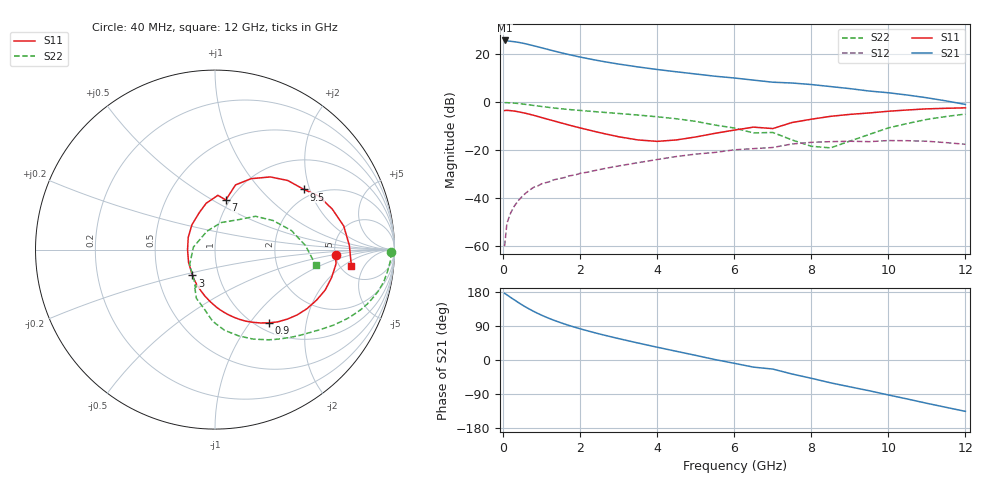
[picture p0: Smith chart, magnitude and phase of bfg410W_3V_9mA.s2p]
! Filename: 39bfg410.001
! BFG410W Field B1
! V1=8.665E-001V,V2=3.000E+000V, I1=1.322E-004A, I2=8.990E-003A
# GHz  S  MA  R 50
!  S11  S21  S12  S22
!Freq(GHz)  Mag  Ang  Mag  Ang  Mag  Ang  Mag  Ang
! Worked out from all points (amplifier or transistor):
!   44 points, 40 MHz to 12 GHz, reference 50 ohm
!   highest |S21| = 25.8 dB at 40 MHz (marker M1)
!   |S21| within 3 dB of that: start of sweep to 985.8 MHz
!   unconditionally stable (mu >= 1): 2.055 GHz to end of sweep
!   at 700 MHz: K = 0.48, MSG = 30.2 dB, |S12| = -36.5 dB
!   at 2.4 GHz: K = 1.08, MAG = 21.2 dB, |S12| = -28.4 dB
!   at 12 GHz: K = 1.52, MAG = 4.1 dB, |S12| = -17.5 dB
!   S11 on the Smith chart (normalised r, x): 40 MHz: 5.04, -0.53; 900 MHz: 1.13, -1.24; 3 GHz: 0.75, -0.22; 7 GHz: 0.96, +0.58; 9.5 GHz: 1.75, +1.83; 12 GHz: 6.29, -2.74
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0.04  0.672 -2.4  19.43 175.7  0.001 61.9  0.98 -0.9
0.1  0.679 -6.7  19.05 172.0  0.003 86.9  0.981 -3.2
0.3  0.654 -20.2  18.25 158.2  0.007 78.9  0.958 -10.5
0.4  0.632 -26.5  17.73 151.4  0.009 75.7  0.941 -14.0
0.5  0.609 -32.7  17.12 145.0  0.011 71.8  0.921 -16.8
0.7  0.559 -43.8  15.72 133.4  0.015 67.2  0.879 -22.3
0.9  0.506 -53.8  14.35 123.0  0.018 63.7  0.837 -26.9
1.2  0.434 -66.7  12.42 109.6  0.022 59.9  0.781 -32.7
1.5  0.372 -78.1  10.81 98.3  0.026 57.2  0.734 -37.5
1.8  0.321 -88.5  9.5 88.4  0.03 55.4  0.696 -41.9
2.2  0.267 -101.7  8.135 76.8  0.035 53.0  0.655 -47.8
2.6  0.224 -115.6  7.083 66.3  0.041 50.6  0.618 -53.5
3  0.191 -131.1  6.26 56.4  0.047 47.8  0.584 -59.4
3.5  0.164 -153.8  5.455 44.9  0.055 43.3  0.542 -66.9
4.5  0.164 155.4  4.318 22.9  0.074 31.9  0.453 -83.2
5.5  0.225 112.6  3.492 1.1  0.09 17.2  0.335 -100.5
6.5  0.303 86.9  2.896 -18.8  0.108 3.5  0.229 -119.9
7  0.283 77.8  2.62 -23.9  0.114 8.1  0.235 -116.8
8.5  0.509 52.7  2.125 -60.2  0.151 -30.2  0.112 113.3
9.5  0.598 34.1  1.716 -81.1  0.151 -50.1  0.213 51.6
10.5  0.691 19.1  1.413 -103.0  0.158 -71.0  0.362 26.6
12  0.765 -6.8  0.902 -135.5  0.133 -109.3  0.567 -8.7
